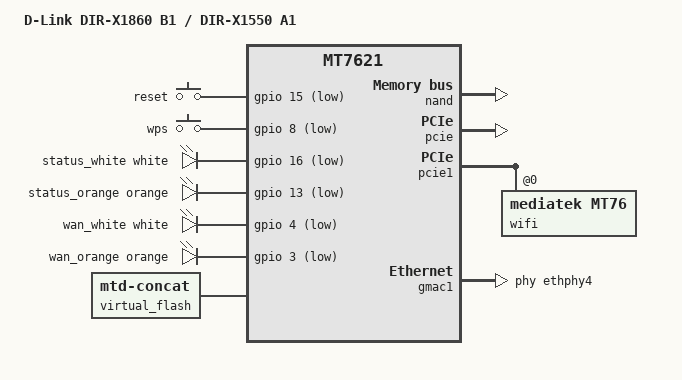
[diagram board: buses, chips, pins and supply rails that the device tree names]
// SPDX-License-Identifier: GPL-2.0-or-later OR MIT

#include "mt7621.dtsi"

#include <dt-bindings/gpio/gpio.h>
#include <dt-bindings/input/input.h>
#include <dt-bindings/leds/common.h>

/ {
	compatible = "dlink,dir-x1860-b1", "mediatek,mt7621-soc";
	model = "D-Link DIR-X1860 B1 / DIR-X1550 A1";

	aliases {
		label-mac-device = &ethernet;
		led-boot = &status_orange;
		led-failsafe = &status_orange;
		led-running = &status_white;
		led-upgrade = &status_orange;
	};

	chosen {
		bootargs = "console=ttyS0,115200";
	};

	keys {
		compatible = "gpio-keys";

		reset {
			label = "reset";
			linux,code = <KEY_RESTART>;
			gpios = <&gpio 15 GPIO_ACTIVE_LOW>;
		};

		wps {
			label = "wps";
			linux,code = <KEY_WPS_BUTTON>;
			gpios = <&gpio 8 GPIO_ACTIVE_LOW>;
		};
	};

	leds {
		compatible = "gpio-leds";

		status_white: power {
			function = LED_FUNCTION_STATUS;
			color = <LED_COLOR_ID_WHITE>;
			gpios = <&gpio 16 GPIO_ACTIVE_LOW>;
		};

		status_orange: status_orange {
			function = LED_FUNCTION_STATUS;
			color = <LED_COLOR_ID_ORANGE>;
			gpios = <&gpio 13 GPIO_ACTIVE_LOW>;
			default-state = "on";
		};

		wan_white {
			function = LED_FUNCTION_WAN;
			color = <LED_COLOR_ID_WHITE>;
			gpios = <&gpio 4 GPIO_ACTIVE_LOW>;
			linux,default-trigger = "mt7530-0:04:link";
		};

		wan_orange {
			function = LED_FUNCTION_WAN;
			color = <LED_COLOR_ID_ORANGE>;
			gpios = <&gpio 3 GPIO_ACTIVE_LOW>;
		};
	};

	virtual_flash {
		compatible = "mtd-concat";

		devices = <&fwconcat0 &fwconcat1>;

		partitions {
			compatible = "fixed-partitions";
			#address-cells = <1>;
			#size-cells = <1>;

			partition@0 {
				label = "ubi";
				reg = <0x0 0x0>;
			};
		};
	};
};

&nand {
	status = "okay";

	partitions {
		compatible = "fixed-partitions";
		#address-cells = <1>;
		#size-cells = <1>;

		partition@0 {
			label = "bootloader";
			reg = <0x0 0x80000>;
			read-only;
		};

		partition@80000 {
			label = "config";
			reg = <0x80000 0x80000>;
			read-only;
		};

		partition@100000 {
			label = "factory";
			reg = <0x100000 0x80000>;
			read-only;

			nvmem-layout {
				compatible = "fixed-layout";
				#address-cells = <1>;
				#size-cells = <1>;

				eeprom_factory_0: eeprom@0 {
					reg = <0x0 0xe00>;
				};

				precal_factory_e10: precal@e10 {
					reg = <0xe10 0x19c10>;
				};
			};
		};

		partition@180000 {
			label = "config2";
			reg = <0x180000 0x40000>;
			read-only;

			nvmem-layout {
				compatible = "fixed-layout";
				#address-cells = <1>;
				#size-cells = <1>;

				macaddr_config2_10: macaddr@10 {
					compatible = "mac-base";
					reg = <0x10 0x11>;
					#nvmem-cell-cells = <1>;
				};
			};
		};

		partition@1c0000 {
			label = "kernel";
			reg = <0x1c0000 0x800000>;
		};

		fwconcat0: partition@9c0000 {
			label = "fwconcat0";
			reg = <0x9c0000 0x2000000>;
		};

		partition@29c0000 {
			label = "kernel2";
			reg = <0x29c0000 0x800000>;
			read-only;
		};

		fwconcat1: partition@31c0000 {
			label = "fwconcat1";
			reg = <0x31c0000 0x2a00000>;
		};

		partition@5bc0000 {
			label = "private";
			reg = <0x5bc0000 0x1400000>;
			read-only;
		};

		partition@6fc0000 {
			label = "mydlink";
			reg = <0x6fc0000 0x600000>;
			read-only;
		};

		partition@75c0000 {
			label = "myconfig";
			reg = <0x75c0000 0xa00000>;
			read-only;
		};
	};
};

&pcie {
	status = "okay";
};

&pcie1 {
	wifi@0,0 {
		compatible = "mediatek,mt76";
		reg = <0x0000 0 0 0 0>;
		nvmem-cells = <&eeprom_factory_0>, <&precal_factory_e10>;
		nvmem-cell-names = "eeprom", "precal";
		mediatek,disable-radar-background;

		#address-cells = <1>;
		#size-cells = <0>;

		band@0 {
			reg = <0>;
			nvmem-cells = <&macaddr_config2_10 1>;
			nvmem-cell-names = "mac-address";
		};

		band@1 {
			reg = <1>;
			nvmem-cells = <&macaddr_config2_10 2>;
			nvmem-cell-names = "mac-address";
		};
	};
};

&gmac0 {
	nvmem-cells = <&macaddr_config2_10 0>;
	nvmem-cell-names = "mac-address";
};

&gmac1 {
	status = "okay";
	label = "wan";
	phy-handle = <&ethphy4>;
	nvmem-cells = <&macaddr_config2_10 3>;
	nvmem-cell-names = "mac-address";
};

&ethphy4 {
	/delete-property/ interrupts;
};

&switch0 {
	ports {
		port@0 {
			status = "okay";
			label = "lan3";
		};

		port@1 {
			status = "okay";
			label = "lan2";
		};

		port@2 {
			status = "okay";
			label = "lan1";
		};
	};
};
